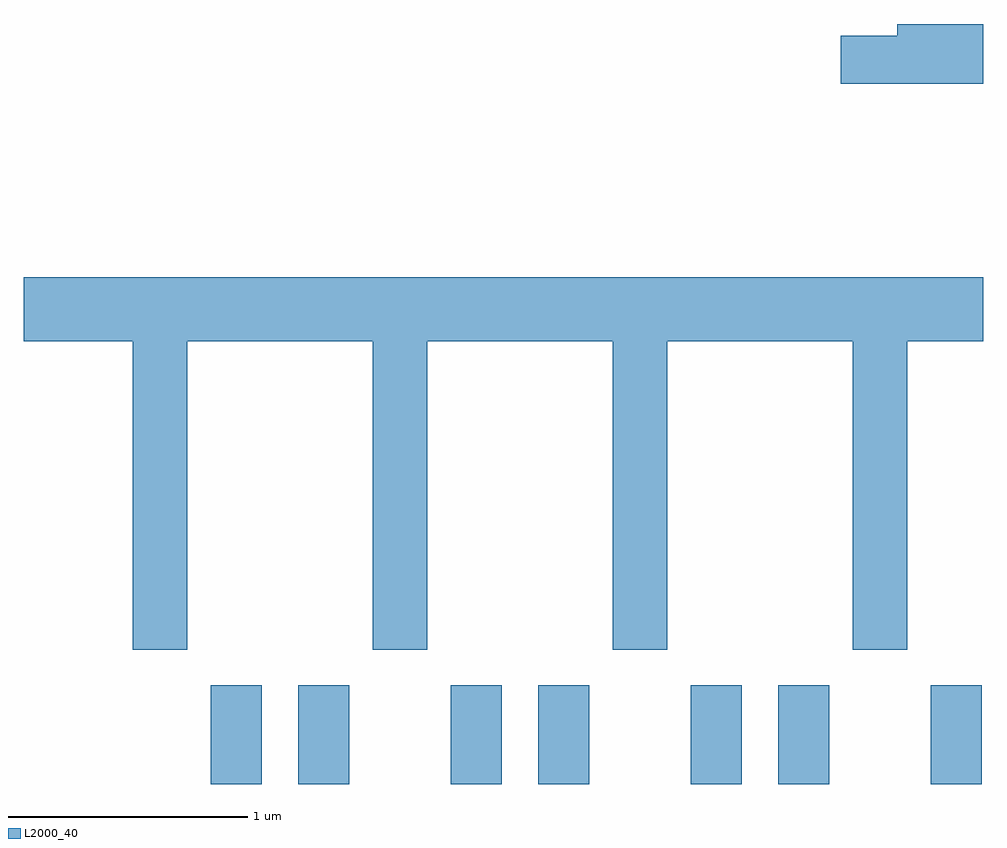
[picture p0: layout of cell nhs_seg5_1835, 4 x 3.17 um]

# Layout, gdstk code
import gdstk
lib = gdstk.Library(unit=1e-6, precision=1e-09)
def R(c, l, rs):  # rectangles x0, y0, x1, y1
    for r in rs: c.add(gdstk.rectangle(r[:2], r[2:], *l))
def P(c, l, *ps):  # polygons
    for p in ps: c.add(gdstk.Polygon(p, *l))
L2000_40 = (2000, 40)

nhs_seg5_1835 = lib.new_cell('nhs_seg5_1835')
R(nhs_seg5_1835, L2000_40, [(240.391,1446.072,240.604,1446.484), (240.756,1446.072,240.969,1446.484), (241.391,1446.072,241.604,1446.484), (241.756,1446.072,241.969,1446.484), (242.391,1446.072,242.604,1446.484), (242.756,1446.072,242.969,1446.484), (243.391,1446.072,243.604,1446.484)])
P(nhs_seg5_1835, L2000_40, [(243.611,1449.239),(243.251,1449.239),(243.251,1449.189),(243.016,1449.189),(243.016,1448.991),(243.611,1448.991)],
  [(240.294,1447.916),(241.066,1447.916),(241.066,1446.631),(241.294,1446.631),(241.294,1447.916),(242.066,1447.916),(242.066,1446.631),(242.294,1446.631),(242.294,1447.916),(243.066,1447.916),(243.066,1446.631),(243.294,1446.631),(243.294,1447.916),(243.611,1447.916),(243.611,1448.184),(239.611,1448.184),(239.611,1447.916),(240.066,1447.916),(240.066,1446.631),(240.294,1446.631)])

lib.write_gds('nhs_seg5_1835.gds')
